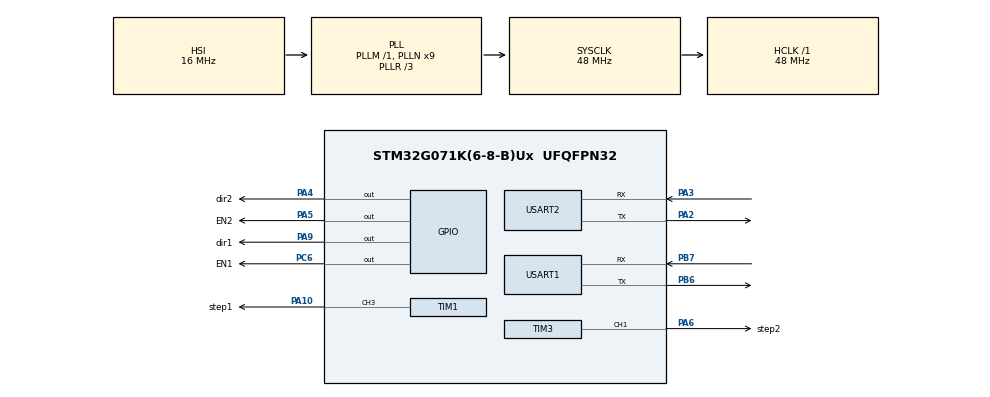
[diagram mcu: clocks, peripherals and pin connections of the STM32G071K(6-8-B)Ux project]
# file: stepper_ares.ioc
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Mcu.Family=STM32G0
Mcu.Name=STM32G071K(6-8-B)Ux
Mcu.Package=UFQFPN32
NVIC.USART1_IRQn=true\:0\:0\:false\:false\:true\:true\:true\:true
PA10.GPIO_Label=step1
PA10.Signal=S_TIM1_CH3
PA2.Mode=Asynchronous
PA2.Signal=USART2_TX
PA3.Mode=Asynchronous
PA3.Signal=USART2_RX
PA4.GPIO_Label=dir2
PA4.Signal=GPIO_Output
PA5.GPIO_Label=EN2
PA5.Signal=GPIO_Output
PA6.GPIO_Label=step2
PA6.Signal=S_TIM3_CH1
PA9.GPIO_Label=dir1
PA9.Signal=GPIO_Output
PB6.Mode=Asynchronous
PB6.Signal=USART1_TX
PB7.Mode=Asynchronous
PB7.Signal=USART1_RX
PC14-OSC32_IN\ (PC14).Mode=LSE-External-Oscillator
PC14-OSC32_IN\ (PC14).Signal=RCC_OSC32_IN
PC15-OSC32_OUT\ (PC15).Mode=LSE-External-Oscillator
PC15-OSC32_OUT\ (PC15).Signal=RCC_OSC32_OUT
PC6.GPIO_Label=EN1
PC6.Signal=GPIO_Output
ProjectManager.HeapSize=0x200
ProjectManager.StackSize=0x400
ProjectManager.TargetToolchain=STM32CubeIDE
RCC.ADCFreq_Value=48000000
RCC.AHBFreq_Value=48000000
RCC.CortexFreq_Value=48000000
RCC.EXTERNAL_CLOCK_VALUE=48000
RCC.HCLKFreq_Value=48000000
RCC.HSE_VALUE=8000000
RCC.HSI_VALUE=16000000
RCC.PLLN=9
RCC.PLLQ=RCC_PLLQ_DIV6
RCC.PLLR=RCC_PLLR_DIV3
RCC.SYSCLKFreq_VALUE=48000000
RCC.SYSCLKSource=RCC_SYSCLKSOURCE_PLLCLK
RCC.VCOOutputFreq_Value=144000000
SH.S_TIM1_CH3.0=TIM1_CH3,PWM Generation3 CH3
SH.S_TIM3_CH1.0=TIM3_CH1,PWM Generation1 CH1
TIM1.Channel-PWM\ Generation3\ CH3=TIM_CHANNEL_3
TIM1.Period=999
TIM1.Prescaler=47
TIM3.AutoReloadPreload=TIM_AUTORELOAD_PRELOAD_ENABLE
TIM3.Channel-PWM\ Generation1\ CH1=TIM_CHANNEL_1
TIM3.Period=999
TIM3.Prescaler=47
USART1.VirtualMode-Asynchronous=VM_ASYNC
USART2.VirtualMode-Asynchronous=VM_ASYNC
VP_TIM1_VS_ClockSourceINT.Mode=Internal
VP_TIM3_VS_ClockSourceINT.Mode=Internal
board=custom

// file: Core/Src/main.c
/* USER CODE BEGIN Header */
/**
  ******************************************************************************
  * @file           : main.c
  * @brief          : Main program body
  ******************************************************************************
  * @attention
  *
  * Copyright (c) 2025 STMicroelectronics.
  * All rights reserved.
  *
  * This software is licensed under terms that can be found in the LICENSE file
  * in the root directory of this software component.
  * If no LICENSE file comes with this software, it is provided AS-IS.
  *
  ******************************************************************************
  */
/* USER CODE END Header */
#include "main.h"

/* USER CODE BEGIN Includes */
#include <string.h>
#include <stdio.h>
/* USER CODE END Includes */

TIM_HandleTypeDef htim1;
TIM_HandleTypeDef htim3;

UART_HandleTypeDef huart1;
UART_HandleTypeDef huart2;

/* USER CODE BEGIN PV */
char rx_data[2] = {0, 0}; // Buffer pour recevoir 2 octets via UART, initialisé à 0 pour un arrêt par défaut
/* USER CODE END PV */

void SystemClock_Config(void);
static void MX_GPIO_Init(void);
static void MX_TIM1_Init(void);
static void MX_TIM3_Init(void);
static void MX_USART1_UART_Init(void);
static void MX_USART2_UART_Init(void);
/* USER CODE BEGIN PFP */
void HAL_UART_RxCpltCallback(UART_HandleTypeDef *huart); // Prototype du callback UART
/* USER CODE END PFP */

int main(void)
{
  /* USER CODE BEGIN 1 */
  // Initialisation utilisateur avant le démarrage
  /* USER CODE END 1 */

  /* MCU Configuration--------------------------------------------------------*/

  /* Reset of all peripherals, Initializes the Flash interface and the Systick. */
  HAL_Init();

  /* USER CODE BEGIN Init */
  // Initialisation supplémentaire si nécessaire
  /* USER CODE END Init */

  /* Configure the system clock */
  SystemClock_Config();

  /* USER CODE BEGIN SysInit */
  // Configuration supplémentaire du système si nécessaire
  /* USER CODE END SysInit */

  /* Initialize all configured peripherals */
  MX_GPIO_Init();
  MX_TIM1_Init();
  MX_TIM3_Init();
  MX_USART1_UART_Init();
  MX_USART2_UART_Init();
  /* USER CODE BEGIN 2 */
  // Message de démarrage pour confirmer que USART2 fonctionne
  HAL_UART_Transmit(&huart2, (uint8_t *)"STM32 Started\r\n", 14, HAL_MAX_DELAY);

  // Démarrer les canaux PWM pour les moteurs
  HAL_TIM_PWM_Start(&htim3, TIM_CHANNEL_1);
  HAL_TIM_PWM_Start(&htim1, TIM_CHANNEL_3);

  // Activer les pilotes de moteur
  HAL_GPIO_WritePin(GPIOA, GPIO_PIN_5, GPIO_PIN_RESET); // Enable moteur 1
  HAL_GPIO_WritePin(GPIOC, GPIO_PIN_6, GPIO_PIN_RESET); // Enable moteur 2

  // Démarrer la réception UART via interruption sur USART1
  HAL_UART_Receive_IT(&huart1, (uint8_t*)rx_data, 2);
  /* USER CODE END 2 */

  /* Infinite loop */
  /* USER CODE BEGIN WHILE */
  while (1)
  {
    // Débogage : Transmettre les données reçues à USART2 pour vérification
    char debug_msg[32];
    sprintf(debug_msg, "rx_data: %d %d\r\n", rx_data[0], rx_data[1]);
    HAL_UART_Transmit(&huart2, (uint8_t *)debug_msg, strlen(debug_msg), HAL_MAX_DELAY);

    // Contrôle du moteur 1 (TIM3)
    if (rx_data[0] == 0)
    {
      HAL_GPIO_WritePin(GPIOA, GPIO_PIN_4, GPIO_PIN_RESET);
      __HAL_TIM_SET_COMPARE(&htim3, TIM_CHANNEL_1, 0); // Arrêt du moteur 1
    }
    else if (rx_data[0] == 1)
    {
      HAL_GPIO_WritePin(GPIOA, GPIO_PIN_4, GPIO_PIN_RESET);
      __HAL_TIM_SET_COMPARE(&htim3, TIM_CHANNEL_1, 499); // Monter le moteur 1
    }
    else if (rx_data[0] == 2)
    {
      HAL_GPIO_WritePin(GPIOA, GPIO_PIN_4, GPIO_PIN_SET);
      __HAL_TIM_SET_COMPARE(&htim3, TIM_CHANNEL_1, 499); // Descendre le moteur 1
    }

    // Contrôle du moteur 2 (TIM1)
    if (rx_data[1] == 0)
    {
      HAL_GPIO_WritePin(GPIOA, GPIO_PIN_9, GPIO_PIN_RESET);
      __HAL_TIM_SET_COMPARE(&htim1, TIM_CHANNEL_3, 0); // Arrêt du moteur 2
    }
    else if (rx_data[1] == 1)
    {
      HAL_GPIO_WritePin(GPIOA, GPIO_PIN_9, GPIO_PIN_RESET);
      __HAL_TIM_SET_COMPARE(&htim1, TIM_CHANNEL_3, 499); // Monter le moteur 2
    }
    else if (rx_data[1] == 2)
    {
      HAL_GPIO_WritePin(GPIOA, GPIO_PIN_9, GPIO_PIN_SET);
      __HAL_TIM_SET_COMPARE(&htim1, TIM_CHANNEL_3, 499); // Descendre le moteur 2
    }

    HAL_Delay(100); // Petit délai pour éviter de surcharger le terminal série
    /* USER CODE END WHILE */

    /* USER CODE BEGIN 3 */
    // Code supplémentaire si nécessaire
    /* USER CODE END 3 */
  }
}

void SystemClock_Config(void)
{
  RCC_OscInitTypeDef RCC_OscInitStruct = {0};
  RCC_ClkInitTypeDef RCC_ClkInitStruct = {0};

  /** Configure the main internal regulator output voltage
  */
  HAL_PWREx_ControlVoltageScaling(PWR_REGULATOR_VOLTAGE_SCALE1);

  /** Initializes the RCC Oscillators according to the specified parameters
  * in the RCC_OscInitTypeDef structure.
  */
  RCC_OscInitStruct.OscillatorType = RCC_OSCILLATORTYPE_HSI;
  RCC_OscInitStruct.HSIState = RCC_HSI_ON;
  RCC_OscInitStruct.HSIDiv = RCC_HSI_DIV1;
  RCC_OscInitStruct.HSICalibrationValue = RCC_HSICALIBRATION_DEFAULT;
  RCC_OscInitStruct.PLL.PLLState = RCC_PLL_ON;
  RCC_OscInitStruct.PLL.PLLSource = RCC_PLLSOURCE_HSI;
  RCC_OscInitStruct.PLL.PLLM = RCC_PLLM_DIV1;
  RCC_OscInitStruct.PLL.PLLN = 9;
  RCC_OscInitStruct.PLL.PLLP = RCC_PLLP_DIV2;
  RCC_OscInitStruct.PLL.PLLQ = RCC_PLLQ_DIV6;
  RCC_OscInitStruct.PLL.PLLR = RCC_PLLR_DIV3;
  if (HAL_RCC_OscConfig(&RCC_OscInitStruct) != HAL_OK)
  {
    Error_Handler();
  }

  /** Initializes the CPU, AHB and APB buses clocks
  */
  RCC_ClkInitStruct.ClockType = RCC_CLOCKTYPE_HCLK|RCC_CLOCKTYPE_SYSCLK
                              |RCC_CLOCKTYPE_PCLK1;
  RCC_ClkInitStruct.SYSCLKSource = RCC_SYSCLKSOURCE_PLLCLK;
  RCC_ClkInitStruct.AHBCLKDivider = RCC_SYSCLK_DIV1;
  RCC_ClkInitStruct.APB1CLKDivider = RCC_HCLK_DIV1;

  if (HAL_RCC_ClockConfig(&RCC_ClkInitStruct, FLASH_LATENCY_1) != HAL_OK)
  {
    Error_Handler();
  }
}

static void MX_TIM1_Init(void)
{
  /* USER CODE BEGIN TIM1_Init 0 */
  // Initialisation spécifique de TIM1 si nécessaire
  /* USER CODE END TIM1_Init 0 */

  TIM_ClockConfigTypeDef sClockSourceConfig = {0};
  TIM_MasterConfigTypeDef sMasterConfig = {0};
  TIM_OC_InitTypeDef sConfigOC = {0};
  TIM_BreakDeadTimeConfigTypeDef sBreakDeadTimeConfig = {0};

  /* USER CODE BEGIN TIM1_Init 1 */
  // Configuration supplémentaire avant initialisation
  /* USER CODE END TIM1_Init 1 */
  htim1.Instance = TIM1;
  htim1.Init.Prescaler = 47;
  htim1.Init.CounterMode = TIM_COUNTERMODE_UP;
  htim1.Init.Period = 999;
  htim1.Init.ClockDivision = TIM_CLOCKDIVISION_DIV1;
  htim1.Init.RepetitionCounter = 0;
  htim1.Init.AutoReloadPreload = TIM_AUTORELOAD_PRELOAD_DISABLE;
  if (HAL_TIM_Base_Init(&htim1) != HAL_OK)
  {
    Error_Handler();
  }
  sClockSourceConfig.ClockSource = TIM_CLOCKSOURCE_INTERNAL;
  if (HAL_TIM_ConfigClockSource(&htim1, &sClockSourceConfig) != HAL_OK)
  {
    Error_Handler();
  }
  if (HAL_TIM_PWM_Init(&htim1) != HAL_OK)
  {
    Error_Handler();
  }
  sMasterConfig.MasterOutputTrigger = TIM_TRGO_RESET;
  sMasterConfig.MasterOutputTrigger2 = TIM_TRGO2_RESET;
  sMasterConfig.MasterSlaveMode = TIM_MASTERSLAVEMODE_DISABLE;
  if (HAL_TIMEx_MasterConfigSynchronization(&htim1, &sMasterConfig) != HAL_OK)
  {
    Error_Handler();
  }
  sConfigOC.OCMode = TIM_OCMODE_PWM1;
  sConfigOC.Pulse = 0;
  sConfigOC.OCPolarity = TIM_OCPOLARITY_HIGH;
  sConfigOC.OCNPolarity = TIM_OCNPOLARITY_HIGH;
  sConfigOC.OCFastMode = TIM_OCFAST_DISABLE;
  sConfigOC.OCIdleState = TIM_OCIDLESTATE_RESET;
  sConfigOC.OCNIdleState = TIM_OCNIDLESTATE_RESET;
  if (HAL_TIM_PWM_ConfigChannel(&htim1, &sConfigOC, TIM_CHANNEL_3) != HAL_OK)
  {
    Error_Handler();
  }
  sBreakDeadTimeConfig.OffStateRunMode = TIM_OSSR_DISABLE;
  sBreakDeadTimeConfig.OffStateIDLEMode = TIM_OSSI_DISABLE;
  sBreakDeadTimeConfig.LockLevel = TIM_LOCKLEVEL_OFF;
  sBreakDeadTimeConfig.DeadTime = 0;
  sBreakDeadTimeConfig.BreakState = TIM_BREAK_DISABLE;
  sBreakDeadTimeConfig.BreakPolarity = TIM_BREAKPOLARITY_HIGH;
  sBreakDeadTimeConfig.BreakFilter = 0;
  sBreakDeadTimeConfig.BreakAFMode = TIM_BREAK_AFMODE_INPUT;
  sBreakDeadTimeConfig.Break2State = TIM_BREAK2_DISABLE;
  sBreakDeadTimeConfig.Break2Polarity = TIM_BREAK2POLARITY_HIGH;
  sBreakDeadTimeConfig.Break2Filter = 0;
  sBreakDeadTimeConfig.Break2AFMode = TIM_BREAK_AFMODE_INPUT;
  sBreakDeadTimeConfig.AutomaticOutput = TIM_AUTOMATICOUTPUT_DISABLE;
  if (HAL_TIMEx_ConfigBreakDeadTime(&htim1, &sBreakDeadTimeConfig) != HAL_OK)
  {
    Error_Handler();
  }
  /* USER CODE BEGIN TIM1_Init 2 */
  // Configuration post-initialisation si nécessaire
  /* USER CODE END TIM1_Init 2 */
  HAL_TIM_MspPostInit(&htim1);
}

static void MX_TIM3_Init(void)
{
  /* USER CODE BEGIN TIM3_Init 0 */
  // Initialisation spécifique de TIM3 si nécessaire
  /* USER CODE END TIM3_Init 0 */

  TIM_ClockConfigTypeDef sClockSourceConfig = {0};
  TIM_MasterConfigTypeDef sMasterConfig = {0};
  TIM_OC_InitTypeDef sConfigOC = {0};

  /* USER CODE BEGIN TIM3_Init 1 */
  // Configuration supplémentaire avant initialisation
  /* USER CODE END TIM3_Init 1 */
  htim3.Instance = TIM3;
  htim3.Init.Prescaler = 47;
  htim3.Init.CounterMode = TIM_COUNTERMODE_UP;
  htim3.Init.Period = 999;
  htim3.Init.ClockDivision = TIM_CLOCKDIVISION_DIV1;
  htim3.Init.AutoReloadPreload = TIM_AUTORELOAD_PRELOAD_ENABLE;
  if (HAL_TIM_Base_Init(&htim3) != HAL_OK)
  {
    Error_Handler();
  }
  sClockSourceConfig.ClockSource = TIM_CLOCKSOURCE_INTERNAL;
  if (HAL_TIM_ConfigClockSource(&htim3, &sClockSourceConfig) != HAL_OK)
  {
    Error_Handler();
  }
  if (HAL_TIM_PWM_Init(&htim3) != HAL_OK)
  {
    Error_Handler();
  }
  sMasterConfig.MasterOutputTrigger = TIM_TRGO_RESET;
  sMasterConfig.MasterSlaveMode = TIM_MASTERSLAVEMODE_DISABLE;
  if (HAL_TIMEx_MasterConfigSynchronization(&htim3, &sMasterConfig) != HAL_OK)
  {
    Error_Handler();
  }
  sConfigOC.OCMode = TIM_OCMODE_PWM1;
  sConfigOC.Pulse = 0;
  sConfigOC.OCPolarity = TIM_OCPOLARITY_HIGH;
  sConfigOC.OCFastMode = TIM_OCFAST_DISABLE;
  if (HAL_TIM_PWM_ConfigChannel(&htim3, &sConfigOC, TIM_CHANNEL_1) != HAL_OK)
  {
    Error_Handler();
  }
  /* USER CODE BEGIN TIM3_Init 2 */
  // Configuration post-initialisation si nécessaire
  /* USER CODE END TIM3_Init 2 */
  HAL_TIM_MspPostInit(&htim3);
}

static void MX_USART1_UART_Init(void)
{
  /* USER CODE BEGIN USART1_Init 0 */
  // Initialisation spécifique de USART1 si nécessaire
  /* USER CODE END USART1_Init 0 */

  /* USER CODE BEGIN USART1_Init 1 */
  // Configuration supplémentaire avant initialisation
  /* USER CODE END USART1_Init 1 */
  huart1.Instance = USART1;
  huart1.Init.BaudRate = 115200;
  huart1.Init.WordLength = UART_WORDLENGTH_8B;
  huart1.Init.StopBits = UART_STOPBITS_1;
  huart1.Init.Parity = UART_PARITY_NONE;
  huart1.Init.Mode = UART_MODE_TX_RX;
  huart1.Init.HwFlowCtl = UART_HWCONTROL_NONE;
  huart1.Init.OverSampling = UART_OVERSAMPLING_16;
  huart1.Init.OneBitSampling = UART_ONE_BIT_SAMPLE_DISABLE;
  huart1.Init.ClockPrescaler = UART_PRESCALER_DIV1;
  huart1.AdvancedInit.AdvFeatureInit = UART_ADVFEATURE_NO_INIT;
  if (HAL_UART_Init(&huart1) != HAL_OK)
  {
    Error_Handler();
  }
  if (HAL_UARTEx_SetTxFifoThreshold(&huart1, UART_TXFIFO_THRESHOLD_1_8) != HAL_OK)
  {
    Error_Handler();
  }
  if (HAL_UARTEx_SetRxFifoThreshold(&huart1, UART_RXFIFO_THRESHOLD_1_8) != HAL_OK)
  {
    Error_Handler();
  }
  if (HAL_UARTEx_DisableFifoMode(&huart1) != HAL_OK)
  {
    Error_Handler();
  }
  /* USER CODE BEGIN USART1_Init 2 */
  // Configuration post-initialisation si nécessaire
  /* USER CODE END USART1_Init 2 */
}

static void MX_USART2_UART_Init(void)
{
  /* USER CODE BEGIN USART2_Init 0 */
  // Initialisation spécifique de USART2 si nécessaire
  /* USER CODE END USART2_Init 0 */

  /* USER CODE BEGIN USART2_Init 1 */
  // Configuration supplémentaire avant initialisation
  /* USER CODE END USART2_Init 1 */
  huart2.Instance = USART2;
  huart2.Init.BaudRate = 115200;
  huart2.Init.WordLength = UART_WORDLENGTH_8B;
  huart2.Init.StopBits = UART_STOPBITS_1;
  huart2.Init.Parity = UART_PARITY_NONE;
  huart2.Init.Mode = UART_MODE_TX_RX;
  huart2.Init.HwFlowCtl = UART_HWCONTROL_NONE;
  huart2.Init.OverSampling = UART_OVERSAMPLING_16;
  huart2.Init.OneBitSampling = UART_ONE_BIT_SAMPLE_DISABLE;
  huart2.Init.ClockPrescaler = UART_PRESCALER_DIV1;
  huart2.AdvancedInit.AdvFeatureInit = UART_ADVFEATURE_NO_INIT;
  if (HAL_UART_Init(&huart2) != HAL_OK)
  {
    Error_Handler();
  }
  if (HAL_UARTEx_SetTxFifoThreshold(&huart2, UART_TXFIFO_THRESHOLD_1_8) != HAL_OK)
  {
    Error_Handler();
  }
  if (HAL_UARTEx_SetRxFifoThreshold(&huart2, UART_RXFIFO_THRESHOLD_1_8) != HAL_OK)
  {
    Error_Handler();
  }
  if (HAL_UARTEx_DisableFifoMode(&huart2) != HAL_OK)
  {
    Error_Handler();
  }
  /* USER CODE BEGIN USART2_Init 2 */
  // Configuration post-initialisation si nécessaire
  /* USER CODE END USART2_Init 2 */
}

static void MX_GPIO_Init(void)
{
  GPIO_InitTypeDef GPIO_InitStruct = {0};
  /* USER CODE BEGIN MX_GPIO_Init_1 */
  // Initialisation supplémentaire des GPIO si nécessaire
  /* USER CODE END MX_GPIO_Init_1 */

  /* GPIO Ports Clock Enable */
  __HAL_RCC_GPIOC_CLK_ENABLE();
  __HAL_RCC_GPIOA_CLK_ENABLE();
  __HAL_RCC_GPIOB_CLK_ENABLE();

  /*Configure GPIO pin Output Level */
  HAL_GPIO_WritePin(GPIOA, dir2_Pin|EN2_Pin|dir1_Pin, GPIO_PIN_RESET);

  /*Configure GPIO pin Output Level */
  HAL_GPIO_WritePin(EN1_GPIO_Port, EN1_Pin, GPIO_PIN_RESET);

  /*Configure GPIO pins : dir2_Pin EN2_Pin dir1_Pin */
  GPIO_InitStruct.Pin = dir2_Pin|EN2_Pin|dir1_Pin;
  GPIO_InitStruct.Mode = GPIO_MODE_OUTPUT_PP;
  GPIO_InitStruct.Pull = GPIO_NOPULL;
  GPIO_InitStruct.Speed = GPIO_SPEED_FREQ_LOW;
  HAL_GPIO_Init(GPIOA, &GPIO_InitStruct);

  /*Configure GPIO pin : EN1_Pin */
  GPIO_InitStruct.Pin = EN1_Pin;
  GPIO_InitStruct.Mode = GPIO_MODE_OUTPUT_PP;
  GPIO_InitStruct.Pull = GPIO_NOPULL;
  GPIO_InitStruct.Speed = GPIO_SPEED_FREQ_LOW;
  HAL_GPIO_Init(EN1_GPIO_Port, &GPIO_InitStruct);

  /* USER CODE BEGIN MX_GPIO_Init_2 */
  // Configuration supplémentaire des GPIO si nécessaire
  /* USER CODE END MX_GPIO_Init_2 */
}

/* USER CODE BEGIN 4 */
void HAL_UART_RxCpltCallback(UART_HandleTypeDef *huart)
{
  if (huart == &huart1)
  {
    // Convertir les données ASCII en valeurs numériques avant traitement
    rx_data[0] = rx_data[0] - '0'; // Convertir '2' (ASCII 50) en 2
    rx_data[1] = rx_data[1] - '0'; // Convertir '0' (ASCII 48) en 0

    // Afficher les données converties pour le débogage
    char debug_msg[32];
    sprintf(debug_msg, "Received: %d %d\r\n", rx_data[0], rx_data[1]);
    HAL_UART_Transmit(&huart2, (uint8_t *)debug_msg, strlen(debug_msg), HAL_MAX_DELAY);

    // Relancer la réception des 2 prochains octets via USART1
    HAL_UART_Receive_IT(&huart1, (uint8_t*)rx_data, 2);
  }
}
/* USER CODE END 4 */

void Error_Handler(void)
{
  /* USER CODE BEGIN Error_Handler_Debug */
  // Boucle infinie avec clignotement sur PA5 pour indiquer une erreur
  while (1)
  {
    HAL_GPIO_TogglePin(GPIOA, GPIO_PIN_5); // Clignoter une LED ou sortie sur PA5
    HAL_Delay(500);
  }
  /* USER CODE END Error_Handler_Debug */
}

#ifdef  USE_FULL_ASSERT
/**
  * @brief  Reports the name of the source file and the source line number
  *         where the assert_param error has occurred.
  * @param  file: pointer to the source file name
  * @param  line: assert_param error line source number
  * @retval None
  */
void assert_failed(uint8_t *file, uint32_t line)
{
  /* USER CODE BEGIN 6 */
  // Rapport d'erreur personnalisé si nécessaire
  /* USER CODE END 6 */
}
#endif /* USE_FULL_ASSERT */
